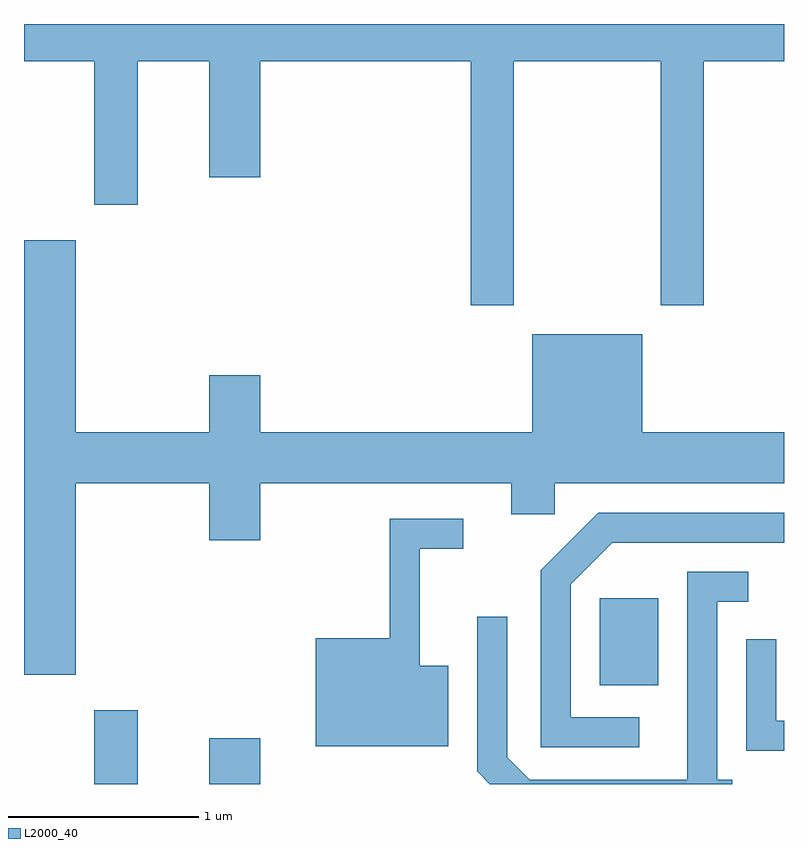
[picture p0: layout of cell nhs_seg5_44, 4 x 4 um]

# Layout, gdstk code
import gdstk
lib = gdstk.Library(unit=1e-6, precision=1e-09)
def R(c, l, rs):  # rectangles x0, y0, x1, y1
    for r in rs: c.add(gdstk.rectangle(r[:2], r[2:], *l))
def P(c, l, *ps):  # polygons
    for p in ps: c.add(gdstk.Polygon(p, *l))
L2000_40 = (2000, 40)

nhs_seg5_44 = lib.new_cell('nhs_seg5_44')
R(nhs_seg5_44, L2000_40, [(185.981,1484.072,186.209,1484.459), (186.586,1484.072,186.854,1484.314), (188.641,1484.591,188.949,1485.049)])
P(nhs_seg5_44, L2000_40, [(188.189,1487.876),(188.961,1487.876),(188.961,1486.591),(189.189,1486.591),(189.189,1487.876),(189.611,1487.876),(189.611,1488.072),(185.611,1488.072),(185.611,1487.876),(185.981,1487.876),(185.981,1487.121),(186.209,1487.121),(186.209,1487.876),(186.586,1487.876),(186.586,1487.266),(186.854,1487.266),(186.854,1487.876),(187.961,1487.876),(187.961,1486.591),(188.189,1486.591)],
  [(185.884,1485.656),(186.586,1485.656),(186.586,1485.356),(186.854,1485.356),(186.854,1485.656),(188.176,1485.656),(188.176,1485.491),(188.404,1485.491),(188.404,1485.656),(189.611,1485.656),(189.611,1485.924),(188.864,1485.924),(188.864,1486.439),(188.286,1486.439),(188.286,1485.924),(186.854,1485.924),(186.854,1486.224),(186.586,1486.224),(186.586,1485.924),(185.884,1485.924),(185.884,1486.934),(185.611,1486.934),(185.611,1484.646),(185.884,1484.646)],
  [(188.848,1484.424),(188.489,1484.424),(188.489,1485.124),(188.707,1485.341),(189.611,1485.341),(189.611,1485.499),(188.634,1485.499),(188.331,1485.197),(188.331,1484.266),(188.848,1484.266)],
  [(187.844,1484.694),(187.694,1484.694),(187.694,1485.311),(187.923,1485.311),(187.923,1485.469),(187.536,1485.469),(187.536,1484.839),(187.146,1484.839),(187.146,1484.271),(187.844,1484.271)],
  [(189.338,1484.094),(189.259,1484.094),(189.259,1485.031),(189.423,1485.031),(189.423,1485.189),(189.101,1485.189),(189.101,1484.094),(188.272,1484.094),(188.154,1484.212),(188.154,1484.953),(187.996,1484.953),(187.996,1484.139),(188.063,1484.072),(189.338,1484.072)],
  [(189.611,1484.404),(189.569,1484.404),(189.569,1484.833),(189.411,1484.833),(189.411,1484.246),(189.611,1484.246)])

lib.write_gds('nhs_seg5_44.gds')
